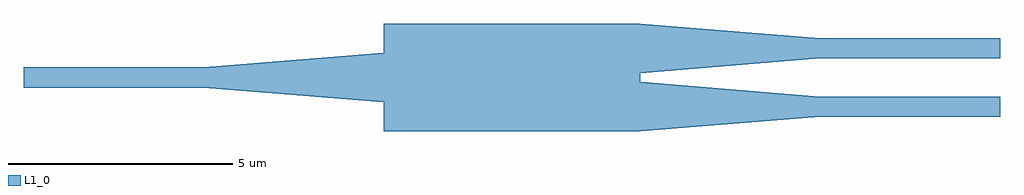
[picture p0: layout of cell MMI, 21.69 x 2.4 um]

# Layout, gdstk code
import gdstk
lib = gdstk.Library(unit=1e-6, precision=1e-10)
def R(c, l, rs):  # rectangles x0, y0, x1, y1
    for r in rs: c.add(gdstk.rectangle(r[:2], r[2:], *l))
def P(c, l, *ps):  # polygons
    for p in ps: c.add(gdstk.Polygon(p, *l))
L1_0 = (1, 0)

mmi = lib.new_cell('MMI')
R(mmi, L1_0, [(-2.845,-1.2,2.845,1.2), (6.845,-0.875,10.845,-0.425), (-10.845,-0.225,-6.845,0.225), (6.845,0.425,10.845,0.875)])
P(mmi, L1_0, [(-2.845,-0.55),(-6.845,-0.225),(-6.845,0.225),(-2.845,0.55)],
  [(2.845,0.1),(2.845,1.2),(6.845,0.875),(6.845,0.425)],
  [(2.845,-1.2),(2.845,-0.1),(6.845,-0.425),(6.845,-0.875)])

lib.write_gds('MMI.gds')
